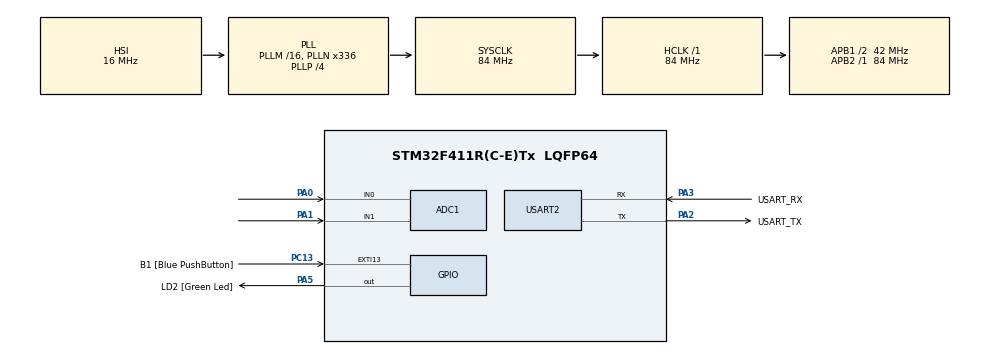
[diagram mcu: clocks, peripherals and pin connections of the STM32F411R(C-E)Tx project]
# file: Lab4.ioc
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ADC1.Channel-0\#ChannelRegularConversion=ADC_CHANNEL_0
ADC1.Channel-1\#ChannelRegularConversion=ADC_CHANNEL_1
ADC1.Channel-2\#ChannelRegularConversion=ADC_CHANNEL_TEMPSENSOR
ADC1.Channel-3\#ChannelRegularConversion=ADC_CHANNEL_VREFINT
ADC1.ContinuousConvMode=ENABLE
ADC1.DMAContinuousRequests=ENABLE
ADC1.NbrOfConversion=4
ADC1.NbrOfConversionFlag=1
ADC1.Rank-0\#ChannelRegularConversion=1
ADC1.Rank-1\#ChannelRegularConversion=2
ADC1.Rank-2\#ChannelRegularConversion=3
ADC1.Rank-3\#ChannelRegularConversion=4
ADC1.SamplingTime-0\#ChannelRegularConversion=ADC_SAMPLETIME_144CYCLES
ADC1.SamplingTime-1\#ChannelRegularConversion=ADC_SAMPLETIME_144CYCLES
ADC1.SamplingTime-2\#ChannelRegularConversion=ADC_SAMPLETIME_144CYCLES
ADC1.SamplingTime-3\#ChannelRegularConversion=ADC_SAMPLETIME_144CYCLES
ADC1.master=1
Dma.ADC1.0.Direction=DMA_PERIPH_TO_MEMORY
Dma.ADC1.0.FIFOMode=DMA_FIFOMODE_DISABLE
Dma.ADC1.0.Instance=DMA2_Stream0
Dma.ADC1.0.MemDataAlignment=DMA_MDATAALIGN_WORD
Dma.ADC1.0.MemInc=DMA_MINC_ENABLE
Dma.ADC1.0.Mode=DMA_CIRCULAR
Dma.ADC1.0.PeriphDataAlignment=DMA_PDATAALIGN_WORD
Dma.ADC1.0.PeriphInc=DMA_PINC_DISABLE
Dma.ADC1.0.Priority=DMA_PRIORITY_LOW
Dma.Request0=ADC1
Mcu.Family=STM32F4
Mcu.Name=STM32F411R(C-E)Tx
Mcu.Package=LQFP64
NVIC.DMA2_Stream0_IRQn=true\:0\:0\:false\:false\:true\:false\:true
NVIC.EXTI15_10_IRQn=true\:0\:0\:false\:false\:true\:true\:true
NVIC.PriorityGroup=NVIC_PRIORITYGROUP_0
PA0-WKUP.Signal=ADCx_IN0
PA1.Signal=ADCx_IN1
PA13.GPIO_Label=TMS
PA13.Mode=Serial_Wire
PA13.Signal=SYS_JTMS-SWDIO
PA14.GPIO_Label=TCK
PA14.Mode=Serial_Wire
PA14.Signal=SYS_JTCK-SWCLK
PA2.GPIO_Label=USART_TX
PA2.Mode=Asynchronous
PA2.Signal=USART2_TX
PA3.GPIO_Label=USART_RX
PA3.Mode=Asynchronous
PA3.Signal=USART2_RX
PA5.GPIO_Label=LD2 [Green Led]
PA5.Signal=GPIO_Output
PB3.GPIO_Label=SWO
PB3.Signal=SYS_JTDO-SWO
PC13-ANTI_TAMP.GPIO_Label=B1 [Blue PushButton]
PC13-ANTI_TAMP.GPIO_ModeDefaultEXTI=GPIO_MODE_IT_RISING_FALLING
PC13-ANTI_TAMP.GPIO_PuPd=GPIO_PULLUP
PC13-ANTI_TAMP.Signal=GPXTI13
PC14-OSC32_IN.Mode=LSE-External-Oscillator
PC14-OSC32_IN.Signal=RCC_OSC32_IN
PC15-OSC32_OUT.Mode=LSE-External-Oscillator
PC15-OSC32_OUT.Signal=RCC_OSC32_OUT
PH0\ -\ OSC_IN.Mode=HSE-External-Clock-Source
PH0\ -\ OSC_IN.Signal=RCC_OSC_IN
PH1\ -\ OSC_OUT.Mode=HSE-External-Clock-Source
PH1\ -\ OSC_OUT.Signal=RCC_OSC_OUT
ProjectManager.HeapSize=0x200
ProjectManager.StackSize=0x400
ProjectManager.TargetToolchain=STM32CubeIDE
RCC.48MHZClocksFreq_Value=84000000
RCC.AHBFreq_Value=84000000
RCC.APB1CLKDivider=RCC_HCLK_DIV2
RCC.APB1Freq_Value=42000000
RCC.APB1TimFreq_Value=84000000
RCC.APB2Freq_Value=84000000
RCC.APB2TimFreq_Value=84000000
RCC.CortexFreq_Value=84000000
RCC.FLatency-AdvancedSettings=FLASH_LATENCY_2
RCC.HCLKFreq_Value=84000000
RCC.HSE_VALUE=8000000
RCC.HSI_VALUE=16000000
RCC.PLLN=336
RCC.PLLP=RCC_PLLP_DIV4
RCC.SYSCLKFreq_VALUE=84000000
RCC.SYSCLKSource=RCC_SYSCLKSOURCE_PLLCLK
RCC.VCOOutputFreq_Value=336000000
SH.ADCx_IN0.0=ADC1_IN0,IN0
SH.ADCx_IN1.0=ADC1_IN1,IN1
USART2.VirtualMode=VM_ASYNC
VP_ADC1_TempSens_Input.Mode=IN-TempSens
VP_ADC1_Vref_Input.Mode=IN-Vrefint
board=NUCLEO-F411RE

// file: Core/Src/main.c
/* USER CODE BEGIN Header */
/**
  ******************************************************************************
  * @file           : main.c
  * @brief          : Main program body
  ******************************************************************************
  * @attention
  *
  * <h2><center>&copy; Copyright (c) 2021 STMicroelectronics.
  * All rights reserved.</center></h2>
  *
  * This software component is licensed by ST under BSD 3-Clause license,
  * the "License"; You may not use this file except in compliance with the
  * License. You may obtain a copy of the License at:
  *                        opensource.org/licenses/BSD-3-Clause
  *
  ******************************************************************************
  */
/* USER CODE END Header */
#include "main.h"

ADC_HandleTypeDef hadc1;
DMA_HandleTypeDef hdma_adc1;

UART_HandleTypeDef huart2;

/* USER CODE BEGIN PV */
uint32_t ADCData[4] = {0}; //ตัว�?ปรรับข้อมูลที่รับมาจา�? ADC
uint32_t TimeStamp = 0;
uint32_t time_pushoff = 0;
uint32_t time_response = 0;
uint8_t on = 0;
uint32_t time = 0;
uint32_t ADC_0 = 0;
uint32_t ADC_1 = 0;

/* USER CODE END PV */

void SystemClock_Config(void);
static void MX_GPIO_Init(void);
static void MX_DMA_Init(void);
static void MX_USART2_UART_Init(void);
static void MX_ADC1_Init(void);
/* USER CODE BEGIN PFP */
//void HAL_GPIO_EXTI_Callback(uint16_t GPIO_Pin);

/* USER CODE END PFP */

int main(void)
{

  /* MCU Configuration--------------------------------------------------------*/

  /* Reset of all peripherals, Initializes the Flash interface and the Systick. */
  HAL_Init();

  /* Configure the system clock */
  SystemClock_Config();

  /* Initialize all configured peripherals */
  MX_GPIO_Init();
  MX_DMA_Init();
  MX_USART2_UART_Init();
  MX_ADC1_Init();
  /* USER CODE BEGIN 2 */
  HAL_ADC_Start_DMA(&hadc1, ADCData, 4); //ADCData = &ADCData[0]

  /* USER CODE END 2 */

  /* Infinite loop */
  while (1)
  {

    /* USER CODE BEGIN 3 */
//	  check LED blink
//	  if (HAL_GetTick()-TimeStamp>=1000)
//	  {
//		  TimeStamp = HAL_GetTick();
//		  HAL_GPIO_TogglePin(LD2_GPIO_Port, LD2_Pin);
//	  }

	  if (HAL_GetTick()-TimeStamp >= (1000+((22695477*ADC_0)+ADC_1)%10000) && on==1)
	  {
	  	on = 2;
	  	TimeStamp = HAL_GetTick();
	  	HAL_GPIO_TogglePin(LD2_GPIO_Port, LD2_Pin); //turn on
	  }

	  //time = HAL_GetTick();
  }
  /* USER CODE END 3 */
}

void SystemClock_Config(void)
{
  RCC_OscInitTypeDef RCC_OscInitStruct = {0};
  RCC_ClkInitTypeDef RCC_ClkInitStruct = {0};

  /** Configure the main internal regulator output voltage
  */
  __HAL_RCC_PWR_CLK_ENABLE();
  __HAL_PWR_VOLTAGESCALING_CONFIG(PWR_REGULATOR_VOLTAGE_SCALE1);
  /** Initializes the RCC Oscillators according to the specified parameters
  * in the RCC_OscInitTypeDef structure.
  */
  RCC_OscInitStruct.OscillatorType = RCC_OSCILLATORTYPE_HSI;
  RCC_OscInitStruct.HSIState = RCC_HSI_ON;
  RCC_OscInitStruct.HSICalibrationValue = RCC_HSICALIBRATION_DEFAULT;
  RCC_OscInitStruct.PLL.PLLState = RCC_PLL_ON;
  RCC_OscInitStruct.PLL.PLLSource = RCC_PLLSOURCE_HSI;
  RCC_OscInitStruct.PLL.PLLM = 16;
  RCC_OscInitStruct.PLL.PLLN = 336;
  RCC_OscInitStruct.PLL.PLLP = RCC_PLLP_DIV4;
  RCC_OscInitStruct.PLL.PLLQ = 4;
  if (HAL_RCC_OscConfig(&RCC_OscInitStruct) != HAL_OK)
  {
    Error_Handler();
  }
  /** Initializes the CPU, AHB and APB buses clocks
  */
  RCC_ClkInitStruct.ClockType = RCC_CLOCKTYPE_HCLK|RCC_CLOCKTYPE_SYSCLK
                              |RCC_CLOCKTYPE_PCLK1|RCC_CLOCKTYPE_PCLK2;
  RCC_ClkInitStruct.SYSCLKSource = RCC_SYSCLKSOURCE_PLLCLK;
  RCC_ClkInitStruct.AHBCLKDivider = RCC_SYSCLK_DIV1;
  RCC_ClkInitStruct.APB1CLKDivider = RCC_HCLK_DIV2;
  RCC_ClkInitStruct.APB2CLKDivider = RCC_HCLK_DIV1;

  if (HAL_RCC_ClockConfig(&RCC_ClkInitStruct, FLASH_LATENCY_2) != HAL_OK)
  {
    Error_Handler();
  }
}

static void MX_ADC1_Init(void)
{

  ADC_ChannelConfTypeDef sConfig = {0};

  /** Configure the global features of the ADC (Clock, Resolution, Data Alignment and number of conversion)
  */
  hadc1.Instance = ADC1;
  hadc1.Init.ClockPrescaler = ADC_CLOCK_SYNC_PCLK_DIV4;
  hadc1.Init.Resolution = ADC_RESOLUTION_12B;
  hadc1.Init.ScanConvMode = ENABLE;
  hadc1.Init.ContinuousConvMode = ENABLE;
  hadc1.Init.DiscontinuousConvMode = DISABLE;
  hadc1.Init.ExternalTrigConvEdge = ADC_EXTERNALTRIGCONVEDGE_NONE;
  hadc1.Init.ExternalTrigConv = ADC_SOFTWARE_START;
  hadc1.Init.DataAlign = ADC_DATAALIGN_RIGHT;
  hadc1.Init.NbrOfConversion = 4;
  hadc1.Init.DMAContinuousRequests = ENABLE;
  hadc1.Init.EOCSelection = ADC_EOC_SINGLE_CONV;
  if (HAL_ADC_Init(&hadc1) != HAL_OK)
  {
    Error_Handler();
  }
  /** Configure for the selected ADC regular channel its corresponding rank in the sequencer and its sample time.
  */
  sConfig.Channel = ADC_CHANNEL_0;
  sConfig.Rank = 1;
  sConfig.SamplingTime = ADC_SAMPLETIME_480CYCLES;
  if (HAL_ADC_ConfigChannel(&hadc1, &sConfig) != HAL_OK)
  {
    Error_Handler();
  }
  /** Configure for the selected ADC regular channel its corresponding rank in the sequencer and its sample time.
  */
  sConfig.Channel = ADC_CHANNEL_1;
  sConfig.Rank = 2;
  if (HAL_ADC_ConfigChannel(&hadc1, &sConfig) != HAL_OK)
  {
    Error_Handler();
  }
  /** Configure for the selected ADC regular channel its corresponding rank in the sequencer and its sample time.
  */
  sConfig.Channel = ADC_CHANNEL_TEMPSENSOR;
  sConfig.Rank = 3;
  if (HAL_ADC_ConfigChannel(&hadc1, &sConfig) != HAL_OK)
  {
    Error_Handler();
  }
  /** Configure for the selected ADC regular channel its corresponding rank in the sequencer and its sample time.
  */
  sConfig.Channel = ADC_CHANNEL_VREFINT;
  sConfig.Rank = 4;
  if (HAL_ADC_ConfigChannel(&hadc1, &sConfig) != HAL_OK)
  {
    Error_Handler();
  }

}

static void MX_USART2_UART_Init(void)
{

  huart2.Instance = USART2;
  huart2.Init.BaudRate = 115200;
  huart2.Init.WordLength = UART_WORDLENGTH_8B;
  huart2.Init.StopBits = UART_STOPBITS_1;
  huart2.Init.Parity = UART_PARITY_NONE;
  huart2.Init.Mode = UART_MODE_TX_RX;
  huart2.Init.HwFlowCtl = UART_HWCONTROL_NONE;
  huart2.Init.OverSampling = UART_OVERSAMPLING_16;
  if (HAL_UART_Init(&huart2) != HAL_OK)
  {
    Error_Handler();
  }

}

static void MX_DMA_Init(void)
{

  /* DMA controller clock enable */
  __HAL_RCC_DMA2_CLK_ENABLE();

  /* DMA interrupt init */
  /* DMA2_Stream0_IRQn interrupt configuration */
  HAL_NVIC_SetPriority(DMA2_Stream0_IRQn, 0, 0);
  HAL_NVIC_EnableIRQ(DMA2_Stream0_IRQn);

}

static void MX_GPIO_Init(void)
{
  GPIO_InitTypeDef GPIO_InitStruct = {0};

  /* GPIO Ports Clock Enable */
  __HAL_RCC_GPIOC_CLK_ENABLE();
  __HAL_RCC_GPIOH_CLK_ENABLE();
  __HAL_RCC_GPIOA_CLK_ENABLE();
  __HAL_RCC_GPIOB_CLK_ENABLE();

  /*Configure GPIO pin Output Level */
  HAL_GPIO_WritePin(LD2_GPIO_Port, LD2_Pin, GPIO_PIN_RESET);

  /*Configure GPIO pin : B1_Pin */
  GPIO_InitStruct.Pin = B1_Pin;
  GPIO_InitStruct.Mode = GPIO_MODE_IT_RISING_FALLING;
  GPIO_InitStruct.Pull = GPIO_PULLUP;
  HAL_GPIO_Init(B1_GPIO_Port, &GPIO_InitStruct);

  /*Configure GPIO pin : LD2_Pin */
  GPIO_InitStruct.Pin = LD2_Pin;
  GPIO_InitStruct.Mode = GPIO_MODE_OUTPUT_PP;
  GPIO_InitStruct.Pull = GPIO_NOPULL;
  GPIO_InitStruct.Speed = GPIO_SPEED_FREQ_LOW;
  HAL_GPIO_Init(LD2_GPIO_Port, &GPIO_InitStruct);

  /* EXTI interrupt init*/
  HAL_NVIC_SetPriority(EXTI15_10_IRQn, 0, 0);
  HAL_NVIC_EnableIRQ(EXTI15_10_IRQn);

}

/* USER CODE BEGIN 4 */
void HAL_GPIO_EXTI_Callback(uint16_t GPIO_Pin) //Interrupt
{
	if (GPIO_Pin == GPIO_PIN_13)
	{
		if (HAL_GPIO_ReadPin(GPIOC, GPIO_PIN_13) == GPIO_PIN_RESET) //falling
		{
			on = 1;
			TimeStamp = HAL_GetTick(); //save current time stamp
			ADC_0 = ADCData[0];
			ADC_1 = ADCData[1];
//			if(HAL_GetTick()-TimeStamp >= (1000+((22695477*ADCData[0])+ADCData[1])%10000) && on ==1)
//			{
//				on = 5;
//				TimeStamp = HAL_GetTick();
//				HAL_GPIO_TogglePin(LD2_GPIO_Port, LD2_Pin); //turn on
//			}
		}
		else //rising
		{
			on =3;
			time_pushoff = HAL_GetTick(); //finger out
			time_response = time_pushoff - TimeStamp;
			HAL_GPIO_TogglePin(LD2_GPIO_Port, LD2_Pin); //turn off
		}
	}
}

/* USER CODE END 4 */

void Error_Handler(void)
{
  __disable_irq();
  while (1)
  {
  }
}

/************************ (C) COPYRIGHT STMicroelectronics *****END OF FILE****/
